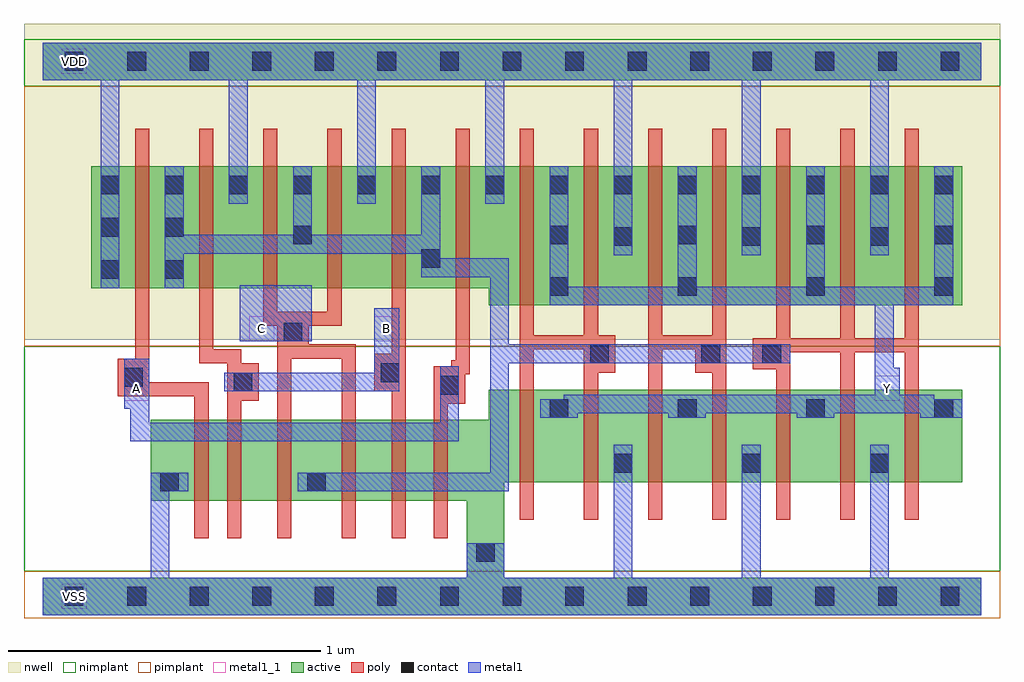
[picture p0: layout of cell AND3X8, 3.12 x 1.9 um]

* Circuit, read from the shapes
.subckt AND3X8 A B C VDD VSS Y
M1 n1 A VSS VSS nfet w=0.26u l=0.045u
M2 n2 B n1 VSS nfet w=0.26u l=0.045u
M3 n3 C n2 VSS nfet w=0.26u l=0.045u
M4 n4 C n3 VSS nfet w=0.26u l=0.045u
M5 n5 B n4 VSS nfet w=0.26u l=0.045u
M6 VSS A n5 VSS nfet w=0.26u l=0.045u
M7 Y n3 VSS VSS nfet w=0.295u l=0.045u m=7
M8 n3 A VDD VDD pfet w=0.39u l=0.045u m=2
M9 VDD B n3 VDD pfet w=0.39u l=0.045u m=2
M10 n3 C VDD VDD pfet w=0.39u l=0.045u m=2
M11 Y n3 VDD VDD pfet w=0.445u l=0.045u m=7
.ends

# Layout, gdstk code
import gdstk
lib = gdstk.Library(unit=1e-6, precision=5e-10)
def R(c, l, rs):  # rectangles x0, y0, x1, y1
    for r in rs: c.add(gdstk.rectangle(r[:2], r[2:], *l))
def A(c, l, x, y, w, h, nx, ny, dx, dy):  # array of equal rectangles
    R(c, l, [(x+i*dx, y+j*dy, x+i*dx+w, y+j*dy+h) for i in range(nx) for j in range(ny)])
def P(c, l, *ps):  # polygons
    for p in ps: c.add(gdstk.Polygon(p, *l))
active = (1, 0)
nwell = (2, 0)
poly = (3, 0)
nimplant = (4, 0)
pimplant = (5, 0)
contact = (6, 0)
metal1 = (7, 0)
metal1_1 = (7, 1)

and3x8 = lib.new_cell('AND3X8')
R(and3x8, active, [(0,1.65,3,1.77)])
P(and3x8, active, [(0.155,1.375),(2.94,1.375),(2.94,0.93),(1.425,0.93),(1.425,0.985),(0.155,0.985)],
  [(1.425,0.66),(2.94,0.66),(2.94,0.365),(1.475,0.365),(1.475,0.06),(3,0.06),(3,-0.06),(0,-0.06),(0,0.06),(1.355,0.06),(1.355,0.305),(0.345,0.305),(0.345,0.565),(1.425,0.565)])
R(and3x8, nwell, [(-0.06,0.82,3.06,1.83)])
P(and3x8, poly, [(0.295,1.495),(0.34,1.495),(0.34,0.685),(0.53,0.685),(0.53,0.185),(0.485,0.185),(0.485,0.64),(0.24,0.64),(0.24,0.76),(0.295,0.76)],
  [(0.5,1.495),(0.545,1.495),(0.545,0.79),(0.635,0.79),(0.635,0.745),(0.69,0.745),(0.69,0.625),(0.635,0.625),(0.635,0.185),(0.59,0.185),(0.59,0.745),(0.5,0.745)],
  [(0.705,1.495),(0.75,1.495),(0.75,0.91),(0.91,0.91),(0.91,1.495),(0.955,1.495),(0.955,0.865),(0.85,0.865),(0.85,0.805),(1,0.805),(1,0.185),(0.955,0.185),(0.955,0.76),(0.795,0.76),(0.795,0.185),(0.75,0.185),(0.75,0.865),(0.705,0.865)],
  [(1.115,1.495),(1.16,1.495),(1.16,0.185),(1.115,0.185),(1.115,0.655),(1.06,0.655),(1.06,0.775),(1.115,0.775)],
  [(1.32,1.495),(1.365,1.495),(1.365,0.71),(1.35,0.71),(1.35,0.615),(1.295,0.615),(1.295,0.185),(1.25,0.185),(1.25,0.735),(1.305,0.735),(1.305,0.755),(1.32,0.755)],
  [(1.525,1.495),(1.57,1.495),(1.57,0.835),(1.73,0.835),(1.73,1.495),(1.775,1.495),(1.775,0.835),(1.83,0.835),(1.83,0.715),(1.775,0.715),(1.775,0.245),(1.73,0.245),(1.73,0.79),(1.57,0.79),(1.57,0.245),(1.525,0.245)],
  [(1.935,1.495),(1.98,1.495),(1.98,0.835),(2.14,0.835),(2.14,1.495),(2.185,1.495),(2.185,0.245),(2.14,0.245),(2.14,0.715),(2.085,0.715),(2.085,0.79),(1.98,0.79),(1.98,0.245),(1.935,0.245)],
  [(2.345,1.495),(2.39,1.495),(2.39,0.825),(2.55,0.825),(2.55,1.495),(2.595,1.495),(2.595,0.825),(2.755,0.825),(2.755,1.495),(2.8,1.495),(2.8,0.245),(2.755,0.245),(2.755,0.78),(2.595,0.78),(2.595,0.245),(2.55,0.245),(2.55,0.78),(2.39,0.78),(2.39,0.245),(2.345,0.245),(2.345,0.725),(2.27,0.725),(2.27,0.825),(2.345,0.825)])
R(and3x8, nimplant, [(-0.06,0.08,3.06,0.8), (-0.06,1.63,3.06,1.78)])
R(and3x8, pimplant, [(-0.06,-0.07,3.06,0.08), (-0.06,0.8,3.06,1.63)])
A(and3x8, contact, 0.07, -0.03, 0.06, 0.06, 15, 2, 0.2, 1.71)
A(and3x8, contact, 1.825, 0.395, 0.06, 0.06, 3, 2, 0.41, 0.725)
A(and3x8, contact, 1.62, 0.57, 0.06, 0.06, 4, 2, 0.41, 0.39)
A(and3x8, contact, 1.62, 1.125, 0.06, 0.06, 4, 1, 0.41, 0)
A(and3x8, contact, 0.185, 1.285, 0.06, 0.06, 14, 1, 0.205, 0)
R(and3x8, contact, [(1.385,0.11,1.445,0.17), (0.375,0.335,0.435,0.395), (0.845,0.335,0.905,0.395), (1.27,0.645,1.33,0.705), (0.61,0.655,0.67,0.715), (0.26,0.67,0.32,0.73), (1.08,0.685,1.14,0.745), (1.75,0.745,1.81,0.805), (2.105,0.745,2.165,0.805), (2.3,0.745,2.36,0.805), (0.77,0.815,0.83,0.875), (0.185,1.015,0.245,1.075), (0.39,1.015,0.45,1.075), (1.21,1.05,1.27,1.11), (0.8,1.125,0.86,1.185), (0.185,1.15,0.245,1.21), (0.39,1.15,0.45,1.21)])
R(and3x8, metal1, [(0.63,0.815,0.86,0.995)])
P(and3x8, metal1, [(0,1.77),(3,1.77),(3,1.65),(2.705,1.65),(2.705,1.09),(2.645,1.09),(2.645,1.65),(2.295,1.65),(2.295,1.09),(2.235,1.09),(2.235,1.65),(1.885,1.65),(1.885,1.09),(1.825,1.09),(1.825,1.65),(1.475,1.65),(1.475,1.255),(1.415,1.255),(1.415,1.65),(1.065,1.65),(1.065,1.255),(1.005,1.255),(1.005,1.65),(0.655,1.65),(0.655,1.255),(0.595,1.255),(0.595,1.65),(0.245,1.65),(0.245,0.985),(0.185,0.985),(0.185,1.65),(0,1.65)],
  [(0.39,1.375),(0.45,1.375),(0.45,1.155),(0.8,1.155),(0.8,1.375),(0.86,1.375),(0.86,1.155),(1.21,1.155),(1.21,1.375),(1.27,1.375),(1.27,1.08),(1.49,1.08),(1.49,0.805),(2.39,0.805),(2.39,0.745),(1.49,0.745),(1.49,0.335),(0.815,0.335),(0.815,0.395),(1.43,0.395),(1.43,1.02),(1.21,1.02),(1.21,1.095),(0.45,1.095),(0.45,0.985),(0.39,0.985)],
  [(1.62,1.375),(1.68,1.375),(1.68,0.99),(2.03,0.99),(2.03,1.375),(2.09,1.375),(2.09,0.99),(2.44,0.99),(2.44,1.375),(2.5,1.375),(2.5,0.99),(2.85,0.99),(2.85,1.375),(2.91,1.375),(2.91,0.93),(2.72,0.93),(2.72,0.73),(2.74,0.73),(2.74,0.645),(2.85,0.645),(2.85,0.63),(2.94,0.63),(2.94,0.57),(2.805,0.57),(2.805,0.585),(2.53,0.585),(2.53,0.57),(2.41,0.57),(2.41,0.585),(2.12,0.585),(2.12,0.57),(2,0.57),(2,0.585),(1.71,0.585),(1.71,0.57),(1.59,0.57),(1.59,0.63),(1.665,0.63),(1.665,0.645),(2.66,0.645),(2.66,0.93),(1.62,0.93)],
  [(1.06,0.92),(1.14,0.92),(1.14,0.655),(0.58,0.655),(0.58,0.715),(1.06,0.715)],
  [(0.26,0.76),(0.34,0.76),(0.34,0.555),(1.27,0.555),(1.27,0.735),(1.33,0.735),(1.33,0.495),(0.28,0.495),(0.28,0.6),(0.26,0.6)],
  [(0.345,0.395),(0.465,0.395),(0.465,0.335),(0.405,0.335),(0.405,0.06),(1.355,0.06),(1.355,0.17),(1.475,0.17),(1.475,0.06),(1.825,0.06),(1.825,0.485),(1.885,0.485),(1.885,0.06),(2.235,0.06),(2.235,0.485),(2.295,0.485),(2.295,0.06),(2.645,0.06),(2.645,0.485),(2.705,0.485),(2.705,0.06),(3,0.06),(3,-0.06),(0,-0.06),(0,0.06),(0.345,0.06)])
R(and3x8, metal1_1, [(0.06,-0.04,0.14,0.04), (0.26,0.625,0.34,0.705), (2.66,0.625,2.74,0.705), (0.66,0.815,0.74,0.895), (1.06,0.815,1.14,0.895), (0.06,1.67,0.14,1.75)])
and3x8.add(gdstk.Label('Y', (2.7,0.665), layer=7, texttype=1))
and3x8.add(gdstk.Label('C', (0.7,0.855), layer=7, texttype=1))
and3x8.add(gdstk.Label('B', (1.1,0.855), layer=7, texttype=1))
and3x8.add(gdstk.Label('A', (0.3,0.665), layer=7, texttype=1))
and3x8.add(gdstk.Label('VDD', (0.1,1.71), layer=7, texttype=1))
and3x8.add(gdstk.Label('VSS', (0.1,0), layer=7, texttype=1))
and3x8.add(gdstk.Label('AND3X8', (0,0), layer=63, texttype=0))

lib.write_gds('AND3X8.gds')
